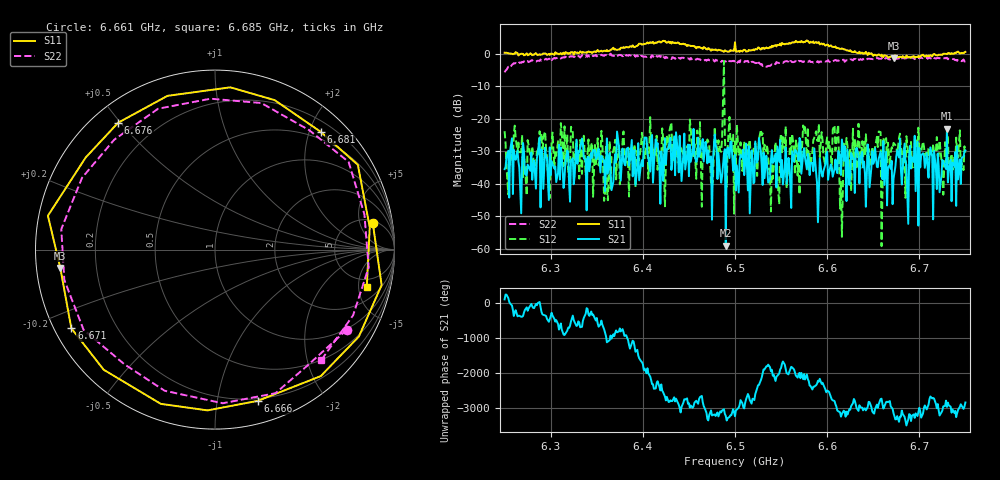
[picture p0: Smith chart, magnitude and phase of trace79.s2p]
# Hz S RI R 50
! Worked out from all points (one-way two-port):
!   401 points, 6.25 GHz to 6.75 GHz, reference 50 ohm
!   highest |S21| = -23.04 dB at 6.73 GHz (marker M1); lowest = -59.2 dB at 6.49 GHz (marker M2)
!   lowest |S11| = -1.2 dB at 6.672 GHz (marker M3), VSWR 14.14, Z = 3.55 - j2.92 ohm
!   |S11| at or under -10 dB: nowhere
!   |S22| runs from -5.7 to 0.1 dB; largest |S21 - S12| = 0.76
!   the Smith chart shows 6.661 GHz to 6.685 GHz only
!   S11 on the Smith chart (normalised r, x): 6.661 GHz: 5.69, +8.12; 6.666 GHz: 0.18, -1.31; 6.671 GHz: 0.05, -0.26; 6.676 GHz: 0.07, +0.49; 6.681 GHz: 0.37, +2.19; 6.685 GHz: 3.59, -6.20
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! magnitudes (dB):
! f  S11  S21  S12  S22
! 6.25 GHz  0.4  -35.5  -23.8  -5.7
! 6.334 GHz  0.3  -26.1  -37.0  -0.4
! 6.354 GHz  0.8  -36.6  -31.4  -0.5
! 6.36 GHz  0.8  -34.7  -28.1  -0.4
! 6.418 GHz  3.9  -34.7  -30.1  -0.6
! 6.49 GHz  0.9  -59.2  -31.8  -2.4
! 6.5 GHz  3.6  -31.1  -27.0  -2.6
! 6.584 GHz  3.5  -33.7  -30.1  -2.5
! 6.61 GHz  1.8  -35.6  -27.2  -2.0
! 6.616 GHz  1.7  -26.4  -56.4  -1.9
! 6.62 GHz  1.3  -33.2  -29.6  -2.1
! 6.655 GHz  -0.4  -35.0  -28.7  -1.3
! 6.661 GHz  -1.0  -26.9  -25.8  -1.3
! 6.666 GHz  -1.2  -35.1  -27.4  -1.6
! 6.668 GHz  -0.9  -34.3  -34.5  -1.8
! 6.671 GHz  -0.8  -46.3  -29.4  -1.3
! 6.672 GHz  -1.2  -38.5  -27.4  -1.5
! 6.676 GHz  -1.0  -29.7  -31.0  -1.5
! 6.681 GHz  -1.1  -40.3  -30.0  -1.4
! 6.685 GHz  -1.2  -33.2  -44.4  -1.4
! 6.73 GHz  -0.1  -23.0  -28.2  -1.2
! 6.75 GHz  0.6  -29.8  -30.5  -2.3
